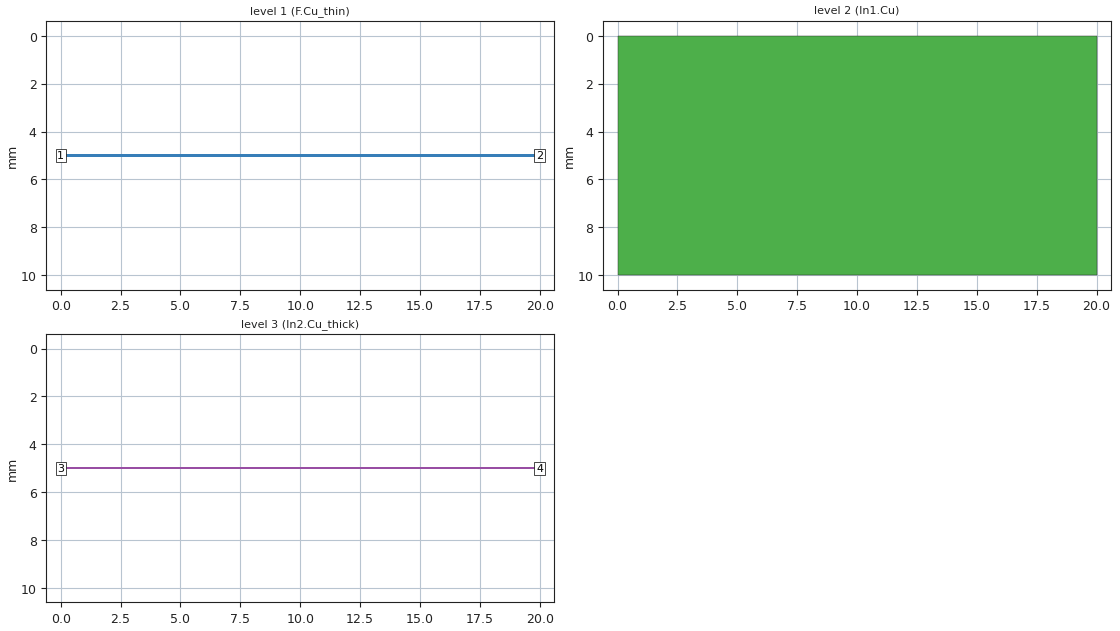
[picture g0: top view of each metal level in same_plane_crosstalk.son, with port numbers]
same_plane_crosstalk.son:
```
FTYP SONPROJ 19 ! Sonnet Project File
VER 18.52
HEADER
LIC antikernel2.1.51176
DAT 02/26/2022 12:02:05
BUILT_BY_CREATED xgeom 18.52 11/18/2021 20:28:07
BUILT_BY_SAVED sonnet 18.52
MDATE 02/26/2022 12:02:05
HDATE 02/26/2022 12:02:05
END HEADER
DIM
ANG DEG
CAP PF
CON /OH
FREQ GHZ
IND NH
LNG MM
RES OH
END DIM
CONTROL
VARSWP
OPTIONS  -dj
SPEED 0
CACHE_ABS 2
Q_ACC N
END CONTROL
GEO
SYM
TMET "Free Space" 0 FREESPACE 376.7303136 0 0 0
BMET "Free Space" 0 FREESPACE 376.7303136 0 0 0
MET "Copper_1oz_thin" 1 NOR 58000000 0.5 0.035 
MET "Copper_1oz_thick" 2 TMM 58000000 0.5 0.035 2
MET "Copper_1oz_thick_down" 3 TMM 58000000 0.5 0.035 2 CDVY TDWN
MET "Copper_0.5oz_thin" 4 NOR 58000000 0.5 0.017 
MET "Copper_0.5oz_thick" 12 TMM 58000000 0.5 0.017 2
MET "Copper_0.5oz_thick_down" 5 TMM 58000000 0.5 0.017 2 CDVY TDWN
BOX 10 20 10 4000 2000 20 0
      5 1 1 0 0 0 0 "Air"
      0.04 3.5 1 0.025 0 0 0 "Soldermask"
      0.075 3.9 1 0.008 0 0 0 "TU-872_SLK"
      0.1 3.9 1 0.008 0 0 0 "TU-872_SLK"
      0.143 3.9 1 0.008 0 0 0 "TU-872_SLK"
      0.7 4.49 1 0.016 0 0 0 "Shengyi_S1000-2M"
      0.143 3.9 1 0.008 0 0 0 "TU-872_SLK"
      0.1 3.9 1 0.008 0 0 0 "TU-872_SLK"
      0.075 3.9 1 0.008 0 0 0 "TU-872_SLK"
      0.04 3.5 1 0.025 0 0 0 "Soldermask"
      5 1 1 0 0 0 0 "Air"
TECHLAY METAL F.Cu_thin <UNSPECIFIED> -1 0 CAD F.Cu_thin drawing 
1 0 0 N 184 1 1 100 100 0 0 0 Y
END
END
TECHLAY METAL F.Cu_thick <UNSPECIFIED> -2 0 CAD F.Cu_thick drawing 
1 0 1 N 188 1 1 100 100 0 0 0 Y
END
END
TECHLAY VIA Via1 <UNSPECIFIED> -13 0 CAD Via1 drawing 
VIA POLYGON
1 0 -1 N 190 1 1 100 100 0 0 0 Y
TOLEVEL 8 RING NOCOVERS
END
END
TECHLAY METAL In1.Cu <UNSPECIFIED> -3 0 CAD In1.Cu drawing 
2 0 0 N 193 1 1 100 100 0 0 0 Y
END
END
TECHLAY METAL In2.Cu_thin <UNSPECIFIED> -4 0 CAD In2.Cu drawing 
3 0 3 N 196 1 1 100 100 0 0 0 Y
END
END
TECHLAY METAL In2.Cu_thick <UNSPECIFIED> -5 0 CAD In2.Cu_thick drawing 
3 0 4 N 198 1 1 100 100 0 0 0 Y
END
END
TECHLAY METAL In3.Cu <UNSPECIFIED> -6 0 CAD In3.Cu drawing 
4 0 0 N 203 1 1 100 100 0 0 0 Y
END
END
TECHLAY METAL In4.Cu <UNSPECIFIED> -7 0 CAD In4.Cu drawing 
5 0 0 N 208 1 1 100 100 0 0 0 Y
END
END
TECHLAY METAL In5.Cu_thin <UNSPECIFIED> -8 0 CAD In5.Cu drawing 
6 0 3 N 211 1 1 100 100 0 0 0 Y
END
END
TECHLAY METAL In5.Cu_thick <UNSPECIFIED> -9 0 CAD In5.Cu_thick drawing 
6 0 5 N 213 1 1 100 100 0 0 0 Y
END
END
TECHLAY METAL In6.Cu <UNSPECIFIED> -10 0 CAD In6.Cu drawing 
7 0 0 N 216 1 1 100 100 0 0 0 Y
END
END
TECHLAY METAL B.Cu_thin <UNSPECIFIED> -11 0 CAD B.Cu_thin drawing 
8 0 0 N 219 1 1 100 100 0 0 0 Y
END
END
TECHLAY METAL B.Cu_thick <UNSPECIFIED> -12 0 CAD B.Cu_thick drawing 
8 0 2 N 221 1 1 100 100 0 0 0 Y
END
END
VALVAR CORE_ER NONE "table1(\"core_er.csv\",FREQ)" "Variable set in material file"
VALVAR CORE_DF NONE "table1(\"core_df.csv\",FREQ)" "Variable set in material file"
VALVAR PREPREG_DF NONE "table1(\"prepreg_df.csv\",FREQ)" "Variable set in material file"
VALVAR PREPREG_ER NONE "table1(\"prepreg_er.csv\",FREQ)" "Variable set in material file"
LORGN 0 10 U 
POR1 BOX
POLY 104 1
3
1 50 0 0 0 0 5 
POR1 BOX
POLY 104 1
1
2 50 0 0 0 20 5 
POR1 BOX
POLY 168 1
3
3 50 0 0 0 0 5 
POR1 BOX
POLY 168 1
1
4 50 0 0 0 20 5 
NUM 3
1 5 0 N 104 1 1 100 100 0 0 0 Y
TLAYNAM F.Cu_thin INH
0 4.93
20 4.93
20 5.07
0 5.07
0 4.93
END
2 5 0 N 103 1 1 100 100 0 0 0 Y
TLAYNAM In1.Cu INH
0 0
20 0
20 10
0 10
0 0
END
3 5 4 N 168 1 1 100 100 0 0 0 Y
TLAYNAM In2.Cu_thick INH
0 4.95
20 4.95
20 5.05
0 5.05
0 4.95
END
END GEO
OPT
MAX 100
END OPT
VARSWP
SWPVARS ON
ENABLED Y
FREQ Y AY ABS_ENTRY 0.001 16.0 -1 300 
END
END VARSWP
```
